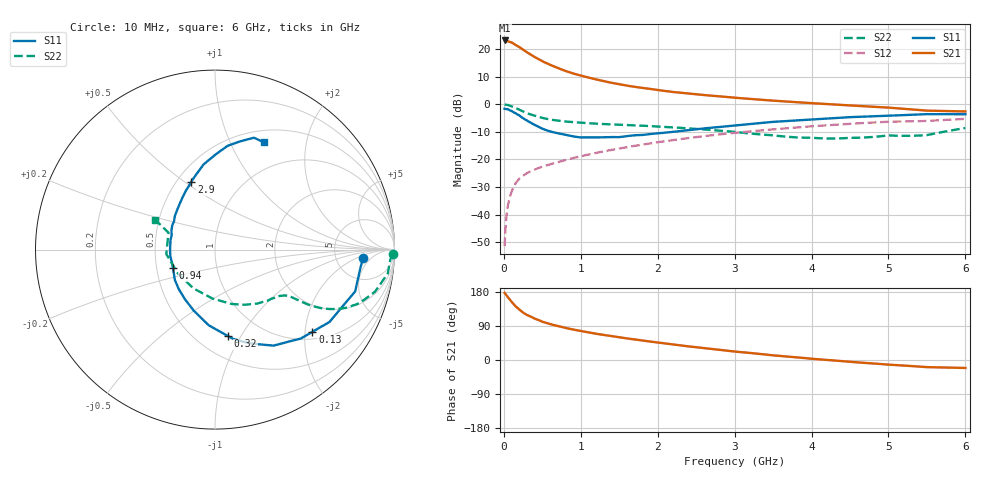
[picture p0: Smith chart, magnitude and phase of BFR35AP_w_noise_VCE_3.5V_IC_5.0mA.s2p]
! Infineon Technologies  Discrete & RF Semiconductors
! BFR35AP
! VCE =  3.5 V,  IC =  5.0 mA
! Common Emitter S-Parameters:  Nov 2015
# GHz  S  MA  R  50
!  f  S11  S21  S12  S22
! GHz  MAG  ANG  MAG  ANG  MAG  ANG  MAG  ANG
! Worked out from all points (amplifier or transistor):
!   210 points, 10 MHz to 6 GHz, reference 50 ohm
!   highest |S21| = 23.1 dB at 10 MHz (marker M1)
!   |S21| within 3 dB of that: start of sweep to 233.2 MHz
!   unconditionally stable (mu >= 1): 797.1 MHz to 3.444 GHz
!   at 185 MHz: K = 0.37, MSG = 24.2 dB, |S12| = -27.5 dB
!   at 1.52 GHz: K = 1.13, MAG = 9.3 dB, |S12| = -15.9 dB
!   at 6 GHz: K = 0.96, MSG = 1.3 dB, |S12| = -5.3 dB
!   lowest NFmin = 1.50 dB at 450 MHz
!   S11 on the Smith chart (normalised r, x): 10 MHz: 10, -3; 130 MHz: 1.18, -2.18; 320 MHz: 0.70, -0.88; 940 MHz: 0.61, -0.13; 2.9 GHz: 0.59, +0.53; 6 GHz: 0.64, +1.35
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0.01  0.8262 -3.4  14.21 177.2  0.0027 87.1  0.9918 -1.4
0.025  0.8153 -8.3  13.96 172.9  0.0066 84.5  0.9769 -4.0
0.05  0.815 -16.6  13.8 166.4  0.0139 81.6  0.9717 -7.9
0.1  0.7546 -32.3  13.13 153.8  0.0261 72.6  0.9213 -14.8
0.13  0.71 -40.2  12.31 147.1  0.0324 69.2  0.8825 -18.1
0.15  0.6886 -46.0  11.87 142.2  0.0366 67.6  0.8583 -20.4
0.2  0.6266 -58.6  10.81 133.0  0.0448 63.5  0.7961 -24.1
0.26  0.5466 -71.3  9.499 123.8  0.0519 59.5  0.7251 -27.2
0.32  0.4877 -81.4  8.372 117.2  0.0583 57.7  0.6709 -29.0
0.4  0.4228 -94.8  7.137 109.3  0.0657 56.1  0.6151 -30.4
0.5  0.36 -109.3  5.965 101.0  0.0739 55.8  0.5636 -31.1
0.6  0.3222 -121.6  5.149 94.7  0.0815 56.1  0.5271 -31.5
0.7  0.2986 -132.5  4.511 89.4  0.0891 56.7  0.5038 -31.8
0.94  0.2562 -156.3  3.467 78.9  0.1093 57.0  0.469 -33.1
1.02  0.2501 -164.4  3.234 75.8  0.1158 57.3  0.4602 -33.7
1.4  0.2542 167.0  2.433 63.0  0.1489 57.4  0.4315 -38.1
2.02  0.2983 136.8  1.787 45.6  0.2066 54.2  0.3924 -48.3
2.9  0.3986 109.4  1.348 24.7  0.2932 46.4  0.3233 -70.1
3.1  0.424 105.2  1.276 20.5  0.3121 44.0  0.3046 -76.8
4.1  0.5401 88.2  1.023 1.8  0.4064 32.0  0.242 -125.0
5.1  0.6263 75.7  0.846 -13.4  0.4838 17.9  0.2689 -179.8
6  0.6572 65.5  0.738 -21.0  0.543 7.4  0.3705 153.5
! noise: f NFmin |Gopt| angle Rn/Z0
0.45  1.5  0.28  29  0.34
0.9  1.8  0.25  59  0.34
